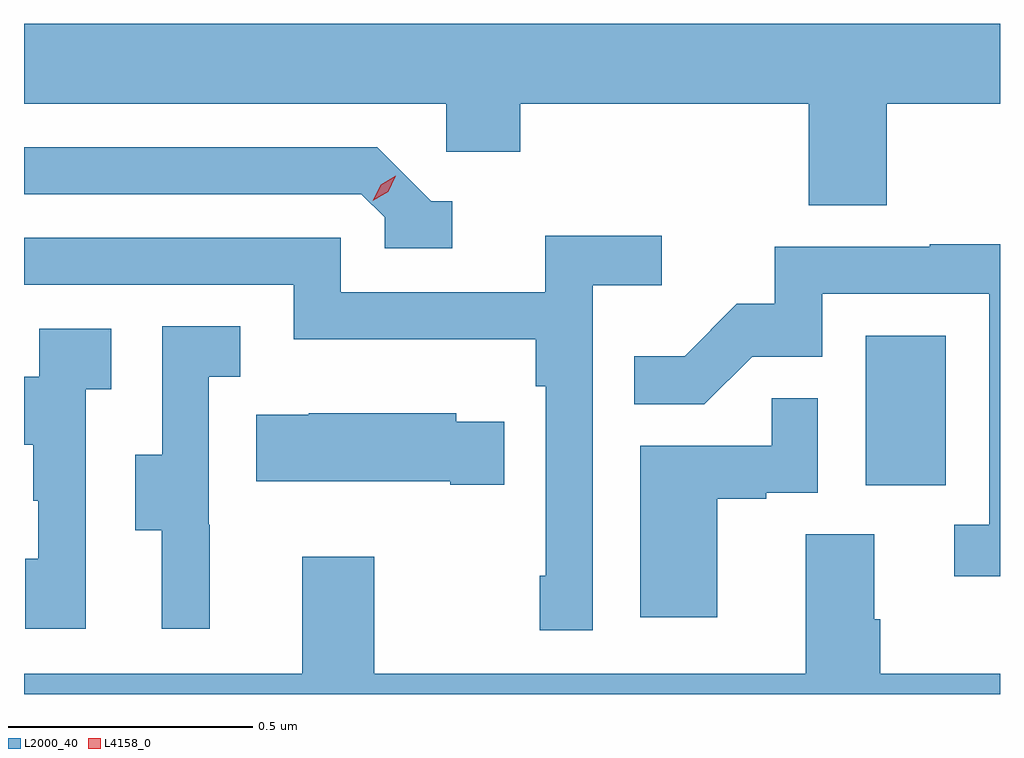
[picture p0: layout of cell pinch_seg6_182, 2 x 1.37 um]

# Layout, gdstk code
import gdstk
lib = gdstk.Library(unit=1e-6, precision=1e-09)
def R(c, l, rs):  # rectangles x0, y0, x1, y1
    for r in rs: c.add(gdstk.rectangle(r[:2], r[2:], *l))
def P(c, l, *ps):  # polygons
    for p in ps: c.add(gdstk.Polygon(p, *l))
L2000_40 = (2000, 40)
L4158_0 = (4158, 0)

pinch_seg6_182 = lib.new_cell('pinch_seg6_182')
R(pinch_seg6_182, L2000_40, [(1063.574,931.902,1063.738,932.209)])
P(pinch_seg6_182, L2000_40, [(1063.617,932.684),(1063.849,932.684),(1063.849,932.848),(1061.849,932.848),(1061.849,932.684),(1062.714,932.684),(1062.714,932.586),(1062.866,932.586),(1062.866,932.684),(1063.457,932.684),(1063.457,932.476),(1063.617,932.476)],
  [(1062.727,932.484),(1062.684,932.484),(1062.573,932.595),(1061.849,932.595),(1061.849,932.499),(1062.54,932.499),(1062.588,932.451),(1062.588,932.388),(1062.727,932.388)],
  [(1063.014,932.312),(1063.156,932.312),(1063.156,932.414),(1062.917,932.414),(1062.917,932.298),(1062.498,932.298),(1062.498,932.409),(1061.849,932.409),(1061.849,932.313),(1062.402,932.313),(1062.402,932.201),(1062.898,932.201),(1062.898,932.105),(1062.918,932.105),(1062.918,931.717),(1062.906,931.717),(1062.906,931.605),(1063.014,931.605)],
  [(1063.849,932.396),(1063.705,932.396),(1063.705,932.391),(1063.387,932.391),(1063.387,932.274),(1063.31,932.274),(1063.203,932.167),(1063.099,932.167),(1063.099,932.068),(1063.243,932.068),(1063.341,932.166),(1063.485,932.166),(1063.485,932.295),(1063.827,932.295),(1063.827,931.821),(1063.755,931.821),(1063.755,931.716),(1063.849,931.716)],
  [(1062.23,931.821),(1062.228,931.821),(1062.228,932.125),(1062.292,932.125),(1062.292,932.228),(1062.132,932.228),(1062.132,931.965),(1062.077,931.965),(1062.077,931.81),(1062.131,931.81),(1062.131,931.608),(1062.23,931.608)],
  [(1061.976,932.099),(1062.028,932.099),(1062.028,932.223),(1061.88,932.223),(1061.88,932.125),(1061.849,932.125),(1061.849,931.985),(1061.868,931.985),(1061.868,931.871),(1061.878,931.871),(1061.878,931.752),(1061.852,931.752),(1061.852,931.608),(1061.976,931.608)],
  [(1063.27,931.875),(1063.37,931.875),(1063.37,931.887),(1063.476,931.887),(1063.476,932.081),(1063.381,932.081),(1063.381,931.983),(1063.112,931.983),(1063.112,931.632),(1063.27,931.632)],
  [(1062.833,932.032),(1062.735,932.032),(1062.735,932.05),(1062.433,932.05),(1062.433,932.047),(1062.325,932.047),(1062.325,931.91),(1062.722,931.91),(1062.722,931.903),(1062.833,931.903)],
  [(1063.849,931.516),(1063.604,931.516),(1063.604,931.628),(1063.591,931.628),(1063.591,931.802),(1063.451,931.802),(1063.451,931.516),(1062.567,931.516),(1062.567,931.756),(1062.419,931.756),(1062.419,931.516),(1061.849,931.516),(1061.849,931.474),(1063.849,931.474)])
P(pinch_seg6_182, L4158_0, [(1062.564,932.485),(1062.564,932.485),(1062.58,932.518),(1062.611,932.537),(1062.611,932.537),(1062.611,932.537),(1062.595,932.504),(1062.564,932.485)])

lib.write_gds('pinch_seg6_182.gds')
